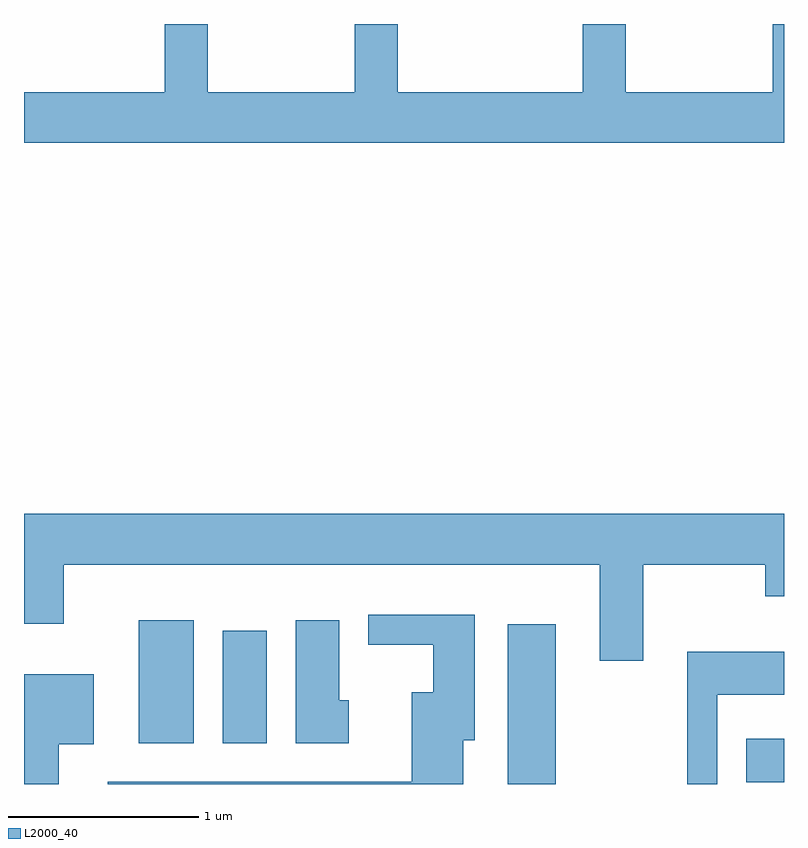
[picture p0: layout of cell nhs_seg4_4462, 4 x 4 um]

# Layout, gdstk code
import gdstk
lib = gdstk.Library(unit=1e-6, precision=1e-09)
def R(c, l, rs):  # rectangles x0, y0, x1, y1
    for r in rs: c.add(gdstk.rectangle(r[:2], r[2:], *l))
def P(c, l, *ps):  # polygons
    for p in ps: c.add(gdstk.Polygon(p, *l))
L2000_40 = (2000, 40)

nhs_seg4_4462 = lib.new_cell('nhs_seg4_4462')
R(nhs_seg4_4462, L2000_40, [(318.156,1337.982,318.409,1338.824), (319.411,1337.991,319.611,1338.219), (316.216,1338.196,316.504,1338.844), (316.656,1338.196,316.889,1338.789)])
P(nhs_seg4_4462, L2000_40, [(319.611,1341.982),(319.551,1341.982),(319.551,1341.624),(318.779,1341.624),(318.779,1341.982),(318.551,1341.982),(318.551,1341.624),(317.579,1341.624),(317.579,1341.982),(317.351,1341.982),(317.351,1341.624),(316.579,1341.624),(316.579,1341.982),(316.351,1341.982),(316.351,1341.624),(315.611,1341.624),(315.611,1341.356),(319.611,1341.356)],
  [(318.869,1339.136),(319.511,1339.136),(319.511,1338.971),(319.611,1338.971),(319.611,1339.404),(315.611,1339.404),(315.611,1338.826),(315.819,1338.826),(315.819,1339.136),(318.641,1339.136),(318.641,1338.631),(318.869,1338.631)],
  [(317.924,1338.211),(317.984,1338.211),(317.984,1338.874),(317.423,1338.874),(317.423,1338.716),(317.766,1338.716),(317.766,1338.464),(317.651,1338.464),(317.651,1337.994),(316.051,1337.994),(316.051,1337.982),(317.924,1337.982)],
  [(317.319,1338.424),(317.269,1338.424),(317.269,1338.844),(317.041,1338.844),(317.041,1338.196),(317.319,1338.196)],
  [(319.259,1338.451),(319.611,1338.451),(319.611,1338.679),(319.101,1338.679),(319.101,1337.982),(319.259,1337.982)],
  [(315.794,1338.191),(315.979,1338.191),(315.979,1338.559),(315.611,1338.559),(315.611,1337.982),(315.794,1337.982)])

lib.write_gds('nhs_seg4_4462.gds')
